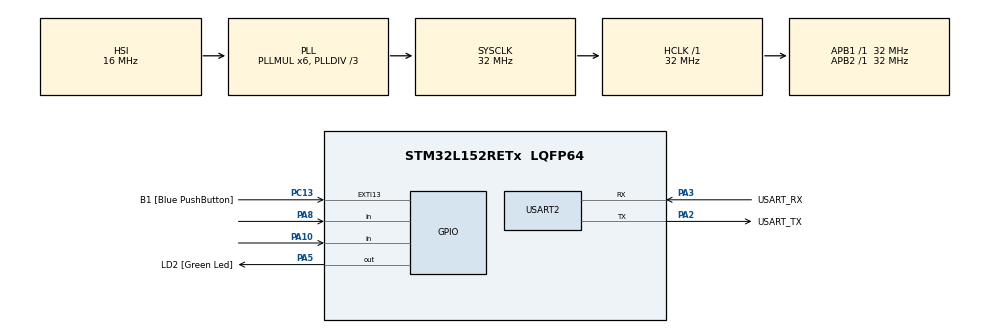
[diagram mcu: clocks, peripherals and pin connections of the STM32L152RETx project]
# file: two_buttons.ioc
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Mcu.Family=STM32L1
Mcu.Name=STM32L152RETx
Mcu.Package=LQFP64
NVIC.PriorityGroup=NVIC_PRIORITYGROUP_0
PA10.Signal=GPIO_Input
PA13.GPIO_Label=TMS
PA13.Mode=Serial_Wire
PA13.Signal=SYS_JTMS-SWDIO
PA14.GPIO_Label=TCK
PA14.Mode=Serial_Wire
PA14.Signal=SYS_JTCK-SWCLK
PA2.GPIO_Label=USART_TX
PA2.Mode=Asynchronous
PA2.Signal=USART2_TX
PA3.GPIO_Label=USART_RX
PA3.Mode=Asynchronous
PA3.Signal=USART2_RX
PA5.GPIO_Label=LD2 [Green Led]
PA5.Signal=GPIO_Output
PA8.Signal=GPIO_Input
PB3.GPIO_Label=SWO
PB3.Signal=SYS_JTDO-TRACESWO
PC13-WKUP2.GPIO_Label=B1 [Blue PushButton]
PC13-WKUP2.Signal=GPXTI13
PC14-OSC32_IN.Mode=LSE-External-Oscillator
PC14-OSC32_IN.Signal=RCC_OSC32_IN
PC15-OSC32_OUT.Mode=LSE-External-Oscillator
PC15-OSC32_OUT.Signal=RCC_OSC32_OUT
PH0-OSC_IN.Mode=HSE-External-Clock-Source
PH0-OSC_IN.Signal=RCC_OSC_IN
PH1-OSC_OUT.Signal=RCC_OSC_OUT
ProjectManager.HeapSize=0x200
ProjectManager.StackSize=0x400
ProjectManager.TargetToolchain=STM32CubeIDE
RCC.48MHZClocksFreq_Value=48000000
RCC.AHBFreq_Value=32000000
RCC.APB1Freq_Value=32000000
RCC.APB1TimFreq_Value=32000000
RCC.APB2Freq_Value=32000000
RCC.APB2TimFreq_Value=32000000
RCC.HCLKFreq_Value=32000000
RCC.HSE_VALUE=8000000
RCC.HSI_VALUE=16000000
RCC.MSI_VALUE=2097000
RCC.PLLDIV=RCC_PLL_DIV3
RCC.PLLMUL=RCC_PLL_MUL6
RCC.RTCClockSelectionVirtual=RCC_RTCCLKSOURCE_LSE
RCC.SYSCLKFreq_VALUE=32000000
RCC.SYSCLKSource=RCC_SYSCLKSOURCE_PLLCLK
RCC.USBOutput=48000000
RCC.VCOOutputFreq_Value=96000000
USART2.VirtualMode=VM_ASYNC
board=NUCLEO-L152RE

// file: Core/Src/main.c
/* USER CODE BEGIN Header */
/**
  ******************************************************************************
  * @file           : main.c
  * @brief          : Main program body
  ******************************************************************************
  * @attention
  *
  * Copyright (c) 2024 STMicroelectronics.
  * All rights reserved.
  *
  * This software is licensed under terms that can be found in the LICENSE file
  * in the root directory of this software component.
  * If no LICENSE file comes with this software, it is provided AS-IS.
  *
  ******************************************************************************
  */
/* USER CODE END Header */
#include "main.h"
#include "usart.h"
#include "gpio.h"
#include "stdio.h"
#include "stdio.h"
// this is pin D7 on STM32 Board
#define b_pin GPIO_PIN_8
#define b_port GPIOA

// this is pin D8 on STM32 Board
#define set_pin GPIO_PIN_10
#define set_port GPIOA
/* USER CODE BEGIN Includes */
//Code to enable printf statements
	int _write(int file, char *data, int len) {
    HAL_UART_Transmit(&huart2, (uint8_t*)data, len, HAL_MAX_DELAY); // Replace &huart2 with your UART instance
    return len;
	}
/* USER CODE END Includes */

void SystemClock_Config(void);

/* USER CODE BEGIN 0 */
int x = 0;

GPIO_PinState button_state;
GPIO_PinState button_state_2;
GPIO_PinState last_state = GPIO_PIN_RESET;
GPIO_PinState last_state_2 = GPIO_PIN_RESET;

int incr_decr(void){
	uint32_t press_time;
	uint32_t count;
	uint32_t DP_Threshold = 1000;

	printf("We will add 5 to x\n\r");
	HAL_Delay(500);
	printf("Do you want to confirm? (Double press to confirm)\n\r");
	//button_state = HAL_GPIO_ReadPin(b_port, b_pin);
	HAL_Delay(500);
	// this is for reading a double press from button 1
	while( HAL_GPIO_ReadPin(b_port, b_pin) == GPIO_PIN_RESET){
		// stays turn until button 1 is pressed
	}
		printf("Button Pressed\n\r");
		count = 1;
		while( HAL_GPIO_ReadPin(b_port, b_pin) == GPIO_PIN_SET){
			// prevents the program from executing until button 1 is released
		}
		//HAL_Delay(500);
		 press_time = HAL_GetTick(); // the time when button 1 is pressed
		 //if the press_count = 1 and the button is pressed again, it is a double press
			while(count == 1 && (HAL_GetTick() - press_time) <= DP_Threshold ){
				//printf("In while loop\n\r");
				if (HAL_GPIO_ReadPin(b_port, b_pin) == GPIO_PIN_SET){
					printf("Double Press\n\r");
					x+=5;
					HAL_Delay(500);
					printf("User wants to confirm\n\r");
					HAL_Delay(500);
					count = 0; // reset count
					break;
			}
				/*else {
					count = 0;
				}*/
		}
			// restart count if button 1 is pressed only once
			if (count == 1){
				count = 0;
			}
			return x;
	}

// exact same code from the one above
int restart(void){
	uint32_t press_time;
	uint32_t count;
	uint32_t DP_Threshold = 1000;

	printf("We will reset the value of x\n\r");
	HAL_Delay(500);
	printf("Do you want to confirm? (Double press to confirm)\n\r");
	//button_state = HAL_GPIO_ReadPin(b_port, b_pin);
	HAL_Delay(500);
	// this is for reading a double press from button 1
	while( HAL_GPIO_ReadPin(set_port, set_pin) == GPIO_PIN_RESET){
		// stays turn until button 1 is pressed
	}
		printf("Button Pressed\n\r");
		count = 1;
		while( HAL_GPIO_ReadPin(set_port, set_pin) == GPIO_PIN_SET){
			// prevents the program from executing until button 1 is released
		}
		//HAL_Delay(500);
		 press_time = HAL_GetTick(); // the time when button 1 is pressed
		 //if the press_count = 1 and the button is pressed again, it is a double press
			while(count == 1 && (HAL_GetTick() - press_time) <= DP_Threshold ){
				//printf("In while loop\n\r");
				if (HAL_GPIO_ReadPin(set_port, set_pin) == GPIO_PIN_SET){
					printf("Double Press\n\r");
					x = 0;
					HAL_Delay(500);
					printf("User wants to confirm\n\r");
					HAL_Delay(500);
					count = 0; // reset count
					break;
			}
				/*else {
					count = 0;
				}*/
		}
			// restart count if button 1 is pressed only once
			if (count == 1){
				count = 0;
			}
			return x;
	}

/* USER CODE END 0 */

int main(void)
{

  /* MCU Configuration--------------------------------------------------------*/

  /* Reset of all peripherals, Initializes the Flash interface and the Systick. */
  HAL_Init();

  /* Configure the system clock */
  SystemClock_Config();

  /* Initialize all configured peripherals */
  MX_GPIO_Init();
  MX_USART2_UART_Init();

  /* Infinite loop */
  /* USER CODE BEGIN WHILE */
  while (1)
  {
	  uint8_t state = 0;
	  uint8_t state2 = 0;
	//button_state = HAL_GPIO_ReadPin(b_port, b_pin);
	 if (x < 25){
	  printf("x is less than 25 still\n\r");
	  HAL_Delay(100);
	  printf("Press either button 1 or 2 to configure it\n\r");

	  while(1){
		  // if button 1 is pressed
	  if (HAL_GPIO_ReadPin(b_port, b_pin) == GPIO_PIN_SET){
			 HAL_Delay(500);
			 // calls function and sets it to y
			  int y = incr_decr();
			  HAL_Delay(500);
			  // displays functions output and breaks from the if statement
				printf("%d\n\r",y);
				 HAL_Delay(500);
				  ++state;
				  break;
			  }
			  	 else{
			  		  state = 0;
			  	  }

		 // if button 2 is pressed
	  	  if (HAL_GPIO_ReadPin(set_port, set_pin) == GPIO_PIN_SET){
	  		  	  int z = restart();
	  		  	  HAL_Delay(500);
	  		  	  	printf("the value of x is now %d\n\r",z);
	  		  	  	 HAL_Delay(500);
	  		  	  	 ++state2;
	  		  	  	 break;
				 }
				 	 else	{
				 		state2 = 0;
			}
	 	 }
	  }

    /* USER CODE END WHILE */

  }
}

void SystemClock_Config(void)
{
  RCC_OscInitTypeDef RCC_OscInitStruct = {0};
  RCC_ClkInitTypeDef RCC_ClkInitStruct = {0};

  /** Configure the main internal regulator output voltage
  */
  __HAL_PWR_VOLTAGESCALING_CONFIG(PWR_REGULATOR_VOLTAGE_SCALE1);

  /** Initializes the RCC Oscillators according to the specified parameters
  * in the RCC_OscInitTypeDef structure.
  */
  RCC_OscInitStruct.OscillatorType = RCC_OSCILLATORTYPE_HSI;
  RCC_OscInitStruct.HSIState = RCC_HSI_ON;
  RCC_OscInitStruct.HSICalibrationValue = RCC_HSICALIBRATION_DEFAULT;
  RCC_OscInitStruct.PLL.PLLState = RCC_PLL_ON;
  RCC_OscInitStruct.PLL.PLLSource = RCC_PLLSOURCE_HSI;
  RCC_OscInitStruct.PLL.PLLMUL = RCC_PLL_MUL6;
  RCC_OscInitStruct.PLL.PLLDIV = RCC_PLL_DIV3;
  if (HAL_RCC_OscConfig(&RCC_OscInitStruct) != HAL_OK)
  {
    Error_Handler();
  }

  /** Initializes the CPU, AHB and APB buses clocks
  */
  RCC_ClkInitStruct.ClockType = RCC_CLOCKTYPE_HCLK|RCC_CLOCKTYPE_SYSCLK
                              |RCC_CLOCKTYPE_PCLK1|RCC_CLOCKTYPE_PCLK2;
  RCC_ClkInitStruct.SYSCLKSource = RCC_SYSCLKSOURCE_PLLCLK;
  RCC_ClkInitStruct.AHBCLKDivider = RCC_SYSCLK_DIV1;
  RCC_ClkInitStruct.APB1CLKDivider = RCC_HCLK_DIV1;
  RCC_ClkInitStruct.APB2CLKDivider = RCC_HCLK_DIV1;

  if (HAL_RCC_ClockConfig(&RCC_ClkInitStruct, FLASH_LATENCY_1) != HAL_OK)
  {
    Error_Handler();
  }
}

void Error_Handler(void)
{
  __disable_irq();
  while (1)
  {
  }
}
